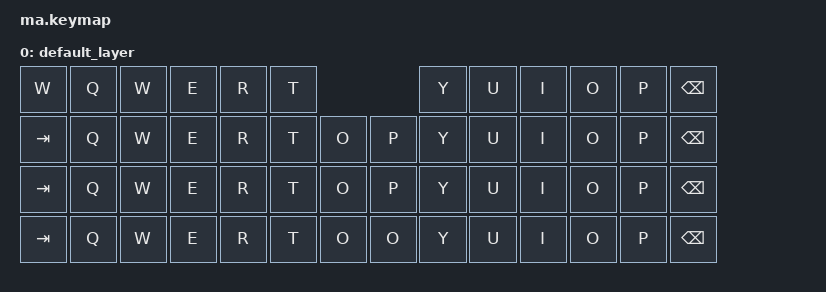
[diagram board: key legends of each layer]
#include <behaviors.dtsi>
#include <dt-bindings/zmk/keys.h>
#include <dt-bindings/zmk/bt.h>

/ {
        keymap {
                compatible = "zmk,keymap";

                default_layer {
// -----------------------------------------------------------------------------------------
// |  W   |  Q  |  W  |  E  |  R  |  T  |               |  Y  |  U   |  I  |  O  |  P  | BSPC |  Y  |
// |  TAB |  Q  |  W  |  E  |  R  |  T  |  O  |   |  P  |  Y  |  U   |  I  |  O  |  P  | BSPC |  Y  |
// |  TAB |  Q  |  W  |  E  |  R  |  T  |  O  |   |  P  |  Y  |  U   |  I  |  O  |  P  | BSPC |  Y  |
// |  TAB |  Q  |  W  |  E  |  R  |  T  |  O  |   |  O  |  Y  |  U   |  I  |  O  |  P  | BSPC |  Y  |
                        bindings = <
   &kp W     &kp Q &kp W &kp E &kp R &kp T                 &kp Y &kp U  &kp I   &kp O   &kp P    &kp BSPC
   &kp TAB   &kp Q &kp W &kp E &kp R &kp T &kp O    &kp P  &kp Y &kp U  &kp I   &kp O   &kp P    &kp BSPC
   &kp TAB   &kp Q &kp W &kp E &kp R &kp T &kp O    &kp P  &kp Y &kp U  &kp I   &kp O   &kp P    &kp BSPC
   &kp TAB   &kp Q &kp W &kp E &kp R &kp T &kp O    &kp O  &kp Y &kp U  &kp I   &kp O   &kp P    &kp BSPC

                        >;
                };
                lower_layer {

                        >;
                };

                raise_layer {

                        >;
                };
        };
};
